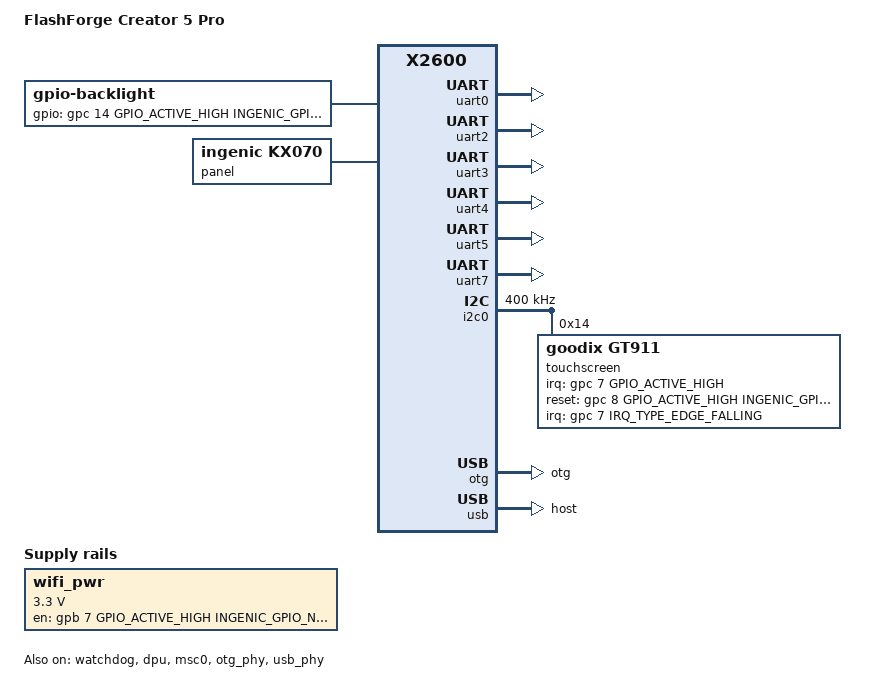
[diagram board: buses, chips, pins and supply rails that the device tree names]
// SPDX-License-Identifier: GPL-2.0
/*
 * FlashForge Creator 5 Pro mainboard (Ingenic X2600) for the Ingenic X2600
 * SDK Linux 6.6 kernel, built in through DT_X2600_MODULE_BASE /
 * DT_X2600_MODULE_BASE_DTS_FILE="x2600/creator5pro.dts".
 *
 * Written from the device tree the stock 5.10 kernel runs on (identical in
 * kernel packages 2.0.7 and 2.0.8) and the stock module parameters. Every
 * difference from the stock tree is marked DEVIATION.
 *
 * Boot contract with the stock SPL (no DTB passed, fixed command line):
 *   console=ttyS0,115200n8 loglevel=8 mem=236M@0x0 rmem=16M@0xec00000
 *   rtos_size=4M@0xfc00000 mem=256M@0x30000000 init=/linuxrc
 *   root=/dev/mmcblk0pN rootwait rootfstype=squashfs ro lpj=...
 * so: no /chosen bootargs (the SPL's argv is the command line, plus the
 * kernel's built-in CONFIG_CMDLINE extension), no /memory node (mem=
 * describes RAM and already leaves out the rmem/RTOS area at 0x0ec00000-
 * 0x0fffffff), uart0 = ttyS0, msc0 = mmc0.
 */
/dts-v1/;

#include <dt-bindings/input/input.h>
#include <dt-bindings/interrupt-controller/irq.h>
#include <dt-bindings/gpio/gpio.h>
#include "x2600.dtsi"

/ {
	compatible = "flashforge,creator5pro", "ingenic,x2600";
	model = "FlashForge Creator 5 Pro";

	/*
	 * Serial aliases come from x2600.dtsi (uart0..7), as in stock, so the
	 * port numbers match stock: ttyS0 console, ttyS2 mainBoardGD,
	 * ttyS3 VDS dryer, ttyS4 heaterBoard, ttyS5 eBoard, ttyS7 levelBoard.
	 */

	/*
	 * DEVIATION: stock powers the RTL8821CU from its vendor driver
	 * (8821cu.ko power_on=PB07). The in-tree rtw88 driver has no such
	 * parameter, so PB07 is held on here. Active-high is ASSUMED.
	 */
	wifi_pwr: regulator-wifi {
		compatible = "regulator-fixed";
		regulator-name = "wifi-pwr";
		regulator-min-microvolt = <3300000>;
		regulator-max-microvolt = <3300000>;
		gpio = <&gpb 7 GPIO_ACTIVE_HIGH INGENIC_GPIO_NOBIAS>;
		enable-active-high;
		regulator-always-on;
		regulator-boot-on;
	};

	/*
	 * Left to userspace, as in stock: PC11 heartbeat (toggled at 1 Hz by
	 * c5-heartbeat), PB17/PB18 (MCU reset/boot pins for flashing).
	 */

	backlight {
		compatible = "gpio-backlight";
		gpios = <&gpc 14 GPIO_ACTIVE_HIGH INGENIC_GPIO_NOBIAS>;
		default-on;
	};

	panel {
		compatible = "ingenic,kx070";
	};
};

&pinctrl {
	/* As stock: GPIO port A and the port E / MSC0 domain run at 1.8 V. */
	ingenic,gpa_voltage = <GPIO_VOLTAGE_1V8>;
	ingenic,gpe_msc_voltage = <GPIO_VOLTAGE_1V8>;
};

/* ---- UARTs: stock's enabled set and pin groups ---- */

&uart0 {	/* ttyS0 console */
	status = "okay";
	pinctrl-names = "default";
	pinctrl-0 = <&uart0_pe>;
};

&uart2 {	/* ttyS2 mainBoardGD */
	status = "okay";
	pinctrl-names = "default";
	pinctrl-0 = <&uart2_pd>;
};

&uart3 {	/* ttyS3 VDS dryer (RS-485, driver enable on PC3) */
	status = "okay";
	pinctrl-names = "default";
	pinctrl-0 = <&uart3_pb>;
	/* Same value as stock; the 6.6 SDK UART driver may not parse it. */
	ingenic,rs485-tx-enable-gpio = <&gpc 3 GPIO_ACTIVE_HIGH INGENIC_GPIO_HIZ>;
};

&uart4 {	/* ttyS4 heaterBoard */
	status = "okay";
	pinctrl-names = "default";
	pinctrl-0 = <&uart4_pb>;
};

&uart5 {	/* ttyS5 eBoard */
	status = "okay";
	pinctrl-names = "default";
	pinctrl-0 = <&uart5_pb>;
};

&uart7 {	/* ttyS7 levelBoard */
	status = "okay";
	pinctrl-names = "default";
	pinctrl-0 = <&uart7_pc>;
};

/* ---- I2C ---- */

/* Stock soc_i2c uses PC00/PC01 at 400 kHz. */
&i2c0 {
	status = "okay";
	clock-frequency = <400000>;
	pinctrl-names = "default";
	pinctrl-0 = <&i2c0_pc>;

	touchscreen@14 {
		compatible = "goodix,gt911";
		reg = <0x14>;
		interrupt-parent = <&gpc>;
		interrupts = <7 IRQ_TYPE_EDGE_FALLING INGENIC_GPIO_PULLUP>;
		irq-gpios = <&gpc 7 GPIO_ACTIVE_HIGH INGENIC_GPIO_PULLUP>;
		reset-gpios = <&gpc 8 GPIO_ACTIVE_HIGH INGENIC_GPIO_NOBIAS>;
		/* Stock reports landscape coordinates without flips or exchange. */
		touchscreen-size-x = <800>;
		touchscreen-size-y = <480>;
	};
};

/* DEVIATION: stock leaves i2c3 enabled with no pin group and no clients. */
&i2c3 {
	status = "disabled";
};

/* SDK driver defaults to 15 s; procd requests its own timeout. */
&watchdog {
	status = "okay";
};

/* KX070 timings live in the SDK panel driver; stock uses LVDS, not PB RGB. */
&dpu {
	status = "okay";
	ingenic,disable-rdma-fb = <0>;
	ingenic,rot_angle = <0>;
};

/* ---- eMMC: as stock ---- */

&msc0 {
	status = "okay";
	pinctrl-names = "default";
	pinctrl-0 = <&msc0_8bit_low>, <&msc0_8bit_high>;
	pinctrl-1 = <&msc0_8bit_high>;
	mmc-hs200-1_8v;
	non-removable;
	max-frequency = <25000000>;	/* stock value */
	bus-width = <8>;
	voltage-ranges = <1800 3300>;
	ingenic,rst-gpios = <0>;
};

/* DEVIATION: not used on this board; its pins overlap MSC0. */
&sfc {
	status = "disabled";
};

/* ---- USB: as stock. The OTG port carries the internal hub (Wi-Fi, camera,
 * front USB socket); the second controller is host-only. ---- */

&otg_phy {
	status = "okay";
	external-vbus-detect;
};

&usb_phy {
	status = "okay";
	external-vbus-detect;
	disable-sw-switch-id;
};

&otg {
	status = "okay";
	dr_mode = "otg";
};

&usb {
	status = "okay";
	dr_mode = "host";
};

/*
 * Ethernet: stock enables no MAC node and never loads its MAC driver, so
 * the board is treated as having no Ethernet. mac0 stays disabled (its RMII
 * pins could be in use for something else on this board).
 */

/* ---- DMA: as stock ---- */

&pdma {
	status = "okay";
};

&pdma1 {
	status = "okay";
};

/*
 * The RISC-V core runs the RTOS the SPL started; Linux leaves it alone
 * (CONFIG_REMOTEPROC is off). Audio and the video/JPEG blocks are not used.
 */
&riscv {
	status = "disabled";
};
